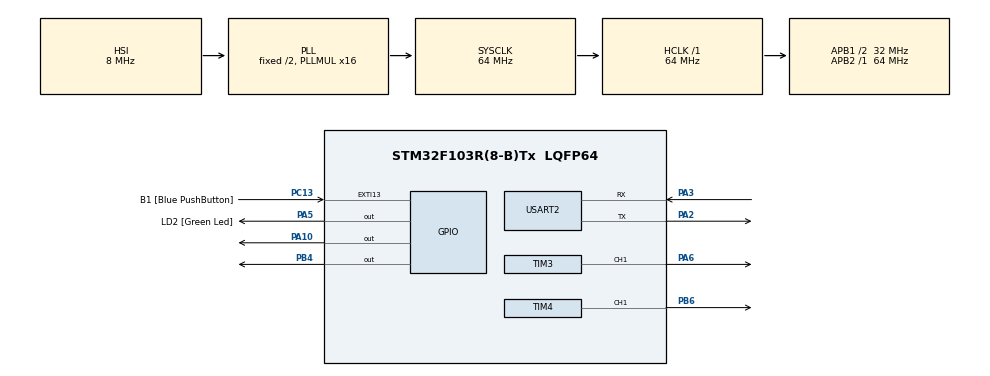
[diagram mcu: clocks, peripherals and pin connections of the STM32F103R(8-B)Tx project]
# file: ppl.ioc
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Dma.Request0=USART2_RX
Dma.Request1=USART2_TX
Dma.USART2_RX.0.Direction=DMA_PERIPH_TO_MEMORY
Dma.USART2_RX.0.Instance=DMA1_Channel6
Dma.USART2_RX.0.MemDataAlignment=DMA_MDATAALIGN_BYTE
Dma.USART2_RX.0.MemInc=DMA_MINC_ENABLE
Dma.USART2_RX.0.Mode=DMA_NORMAL
Dma.USART2_RX.0.PeriphDataAlignment=DMA_PDATAALIGN_BYTE
Dma.USART2_RX.0.PeriphInc=DMA_PINC_DISABLE
Dma.USART2_RX.0.Priority=DMA_PRIORITY_LOW
Dma.USART2_TX.1.Direction=DMA_MEMORY_TO_PERIPH
Dma.USART2_TX.1.Instance=DMA1_Channel7
Dma.USART2_TX.1.MemDataAlignment=DMA_MDATAALIGN_BYTE
Dma.USART2_TX.1.MemInc=DMA_MINC_ENABLE
Dma.USART2_TX.1.Mode=DMA_NORMAL
Dma.USART2_TX.1.PeriphDataAlignment=DMA_PDATAALIGN_BYTE
Dma.USART2_TX.1.PeriphInc=DMA_PINC_DISABLE
Dma.USART2_TX.1.Priority=DMA_PRIORITY_LOW
Mcu.Family=STM32F1
Mcu.Name=STM32F103R(8-B)Tx
Mcu.Package=LQFP64
NVIC.DMA1_Channel6_IRQn=true\:0\:0\:false\:false\:true\:false\:true\:true
NVIC.DMA1_Channel7_IRQn=true\:0\:0\:false\:false\:true\:false\:true\:true
NVIC.EXTI15_10_IRQn=true\:0\:0\:false\:false\:true\:true\:true\:true
NVIC.PriorityGroup=NVIC_PRIORITYGROUP_4
NVIC.USART2_IRQn=true\:0\:0\:false\:false\:true\:true\:true\:true
PA10.Signal=GPIO_Output
PA13.GPIO_Label=TMS
PA13.Mode=Serial_Wire
PA13.Signal=SYS_JTMS-SWDIO
PA14.GPIO_Label=TCK
PA14.Mode=Serial_Wire
PA14.Signal=SYS_JTCK-SWCLK
PA2.Mode=Asynchronous
PA2.Signal=USART2_TX
PA3.Mode=Asynchronous
PA3.Signal=USART2_RX
PA5.GPIO_Label=LD2 [Green Led]
PA5.GPIO_ModeDefaultOutputPP=GPIO_MODE_OUTPUT_PP
PA5.GPIO_PuPd=GPIO_NOPULL
PA5.GPIO_Speed=GPIO_SPEED_FREQ_LOW
PA5.Signal=GPIO_Output
PA6.Signal=S_TIM3_CH1
PB3.GPIO_Label=SWO
PB3.Signal=SYS_JTDO-TRACESWO
PB4.Signal=GPIO_Output
PB6.Signal=S_TIM4_CH1
PC13-TAMPER-RTC.GPIO_Label=B1 [Blue PushButton]
PC13-TAMPER-RTC.GPIO_PuPd=GPIO_NOPULL
PC13-TAMPER-RTC.Signal=GPXTI13
PC14-OSC32_IN.Mode=LSE-External-Oscillator
PC14-OSC32_IN.Signal=RCC_OSC32_IN
PC15-OSC32_OUT.Mode=LSE-External-Oscillator
PC15-OSC32_OUT.Signal=RCC_OSC32_OUT
PD0-OSC_IN.Mode=HSE-External-Clock-Source
PD0-OSC_IN.Signal=RCC_OSC_IN
PD1-OSC_OUT.Mode=HSE-External-Clock-Source
PD1-OSC_OUT.Signal=RCC_OSC_OUT
ProjectManager.HeapSize=0x200
ProjectManager.StackSize=0x400
ProjectManager.TargetToolchain=STM32CubeIDE
RCC.AHBFreq_Value=64000000
RCC.APB1CLKDivider=RCC_HCLK_DIV2
RCC.APB1Freq_Value=32000000
RCC.APB1TimFreq_Value=64000000
RCC.APB2Freq_Value=64000000
RCC.APB2TimFreq_Value=64000000
RCC.HCLKFreq_Value=64000000
RCC.PLLMUL=RCC_PLL_MUL16
RCC.RTCClockSelection=RCC_RTCCLKSOURCE_LSE
RCC.SYSCLKFreq_VALUE=64000000
RCC.SYSCLKSource=RCC_SYSCLKSOURCE_PLLCLK
RCC.USBFreq_Value=64000000
SH.S_TIM3_CH1.0=TIM3_CH1,PWM Generation1 CH1
SH.S_TIM4_CH1.0=TIM4_CH1,PWM Generation1 CH1
TIM3.Channel-PWM\ Generation1\ CH1=TIM_CHANNEL_1
TIM3.Period=999
TIM3.Prescaler=71
TIM4.Channel-PWM\ Generation1\ CH1=TIM_CHANNEL_1
TIM4.Period=19999
TIM4.Prescaler=71
USART2.VirtualMode=VM_ASYNC
board=NUCLEO-F103RB

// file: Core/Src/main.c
/* USER CODE BEGIN Header */
/**
  ******************************************************************************
  * @file           : main.c
  * @brief          : Main program body
  ******************************************************************************
  * @attention
  *
  * Copyright (c) 2023 STMicroelectronics.
  * All rights reserved.
  *
  * This software is licensed under terms that can be found in the LICENSE file
  * in the root directory of this software component.
  * If no LICENSE file comes with this software, it is provided AS-IS.
  *
  ******************************************************************************
  */
/* USER CODE END Header */
#include "main.h"
#include "dma.h"
#include "tim.h"
#include "usart.h"
#include "gpio.h"
#include "motor_a.h"
#include "servo.h"
#include "cmd_kv.h"
#include "cmd_handler.h"
/* USER CODE BEGIN Includes */
#include <stdio.h>
#include <ctype.h>
#include <stdarg.h>
#include "motor_a.h"
#include "servo.h"
#include "cmd_kv.h"
#include "cmd_handler.h"
#include "comm_uart_line.h"

/* USER CODE END Includes */

void SystemClock_Config(void);

int main(void)
{

  /* MCU Configuration--------------------------------------------------------*/

  /* Reset of all peripherals, Initializes the Flash interface and the Systick. */
  HAL_Init();

  /* Configure the system clock */
  SystemClock_Config();

  /* Initialize all configured peripherals */
  MX_GPIO_Init();
  MX_DMA_Init();
  MX_USART2_UART_Init();
  MX_TIM3_Init();
  MX_TIM4_Init();
  /* USER CODE BEGIN 2 */
  HAL_TIM_PWM_Start(&htim3, TIM_CHANNEL_1);  // 모터 PWM (PA6)
  HAL_TIM_PWM_Start(&htim4, TIM_CHANNEL_1);  // 서보 PWM (PB6)
  comm_uart_line_init();
             // <- HT(half) 끄기

  Servo_Write_us(1470); HAL_Delay(500); //중심
  Servo_Write_us(1100); HAL_Delay(500);
  Servo_Write_us(1800); HAL_Delay(500);
  Servo_Write_us(1500); HAL_Delay(500);
  /* USER CODE END 2 */

  /* Infinite loop */
  /* USER CODE BEGIN WHILE */

  while (1)
  {
	  char line[COMM_UART_LINE_MAX];

	      while (comm_uart_line_pop(line, sizeof(line))) {
	        handle_line(line);
	      }
  }
    /* USER CODE END WHILE */

}

void SystemClock_Config(void)
{
  RCC_OscInitTypeDef RCC_OscInitStruct = {0};
  RCC_ClkInitTypeDef RCC_ClkInitStruct = {0};

  /** Initializes the RCC Oscillators according to the specified parameters
  * in the RCC_OscInitTypeDef structure.
  */
  RCC_OscInitStruct.OscillatorType = RCC_OSCILLATORTYPE_HSI;
  RCC_OscInitStruct.HSIState = RCC_HSI_ON;
  RCC_OscInitStruct.HSICalibrationValue = RCC_HSICALIBRATION_DEFAULT;
  RCC_OscInitStruct.PLL.PLLState = RCC_PLL_ON;
  RCC_OscInitStruct.PLL.PLLSource = RCC_PLLSOURCE_HSI_DIV2;
  RCC_OscInitStruct.PLL.PLLMUL = RCC_PLL_MUL16;
  if (HAL_RCC_OscConfig(&RCC_OscInitStruct) != HAL_OK)
  {
    Error_Handler();
  }

  /** Initializes the CPU, AHB and APB buses clocks
  */
  RCC_ClkInitStruct.ClockType = RCC_CLOCKTYPE_HCLK|RCC_CLOCKTYPE_SYSCLK
                              |RCC_CLOCKTYPE_PCLK1|RCC_CLOCKTYPE_PCLK2;
  RCC_ClkInitStruct.SYSCLKSource = RCC_SYSCLKSOURCE_PLLCLK;
  RCC_ClkInitStruct.AHBCLKDivider = RCC_SYSCLK_DIV1;
  RCC_ClkInitStruct.APB1CLKDivider = RCC_HCLK_DIV2;
  RCC_ClkInitStruct.APB2CLKDivider = RCC_HCLK_DIV1;

  if (HAL_RCC_ClockConfig(&RCC_ClkInitStruct, FLASH_LATENCY_2) != HAL_OK)
  {
    Error_Handler();
  }
}

/* USER CODE BEGIN 4 */
/* USER CODE BEGIN 4 */
/* USER CODE BEGIN 4 */
void HAL_UARTEx_RxEventCallback(UART_HandleTypeDef *huart, uint16_t Size)
{
  if (huart->Instance != USART2) return;

  comm_uart_line_on_rx(Size);
}
/* USER CODE END 4 */

/* USER CODE END 4 */
/* USER CODE END 4 */

void Error_Handler(void)
{
  __disable_irq();
  while (1)
  {
  }
}
